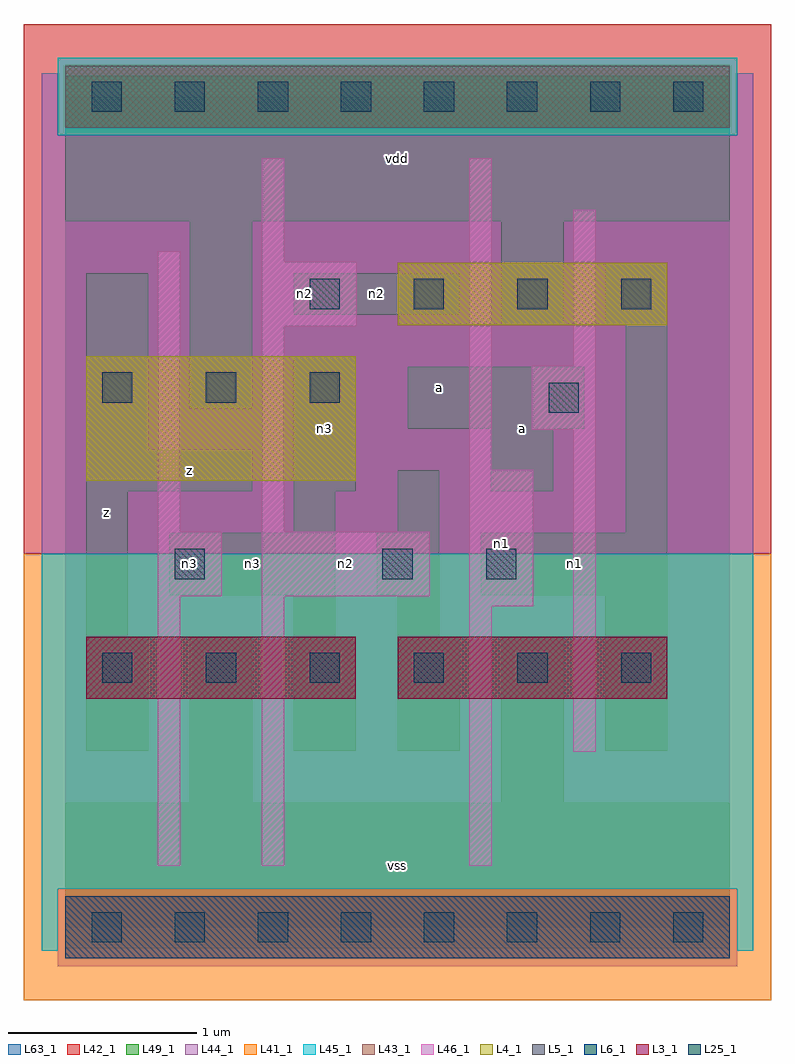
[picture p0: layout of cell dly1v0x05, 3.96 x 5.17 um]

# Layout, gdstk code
import gdstk
lib = gdstk.Library(unit=1e-6, precision=1e-09)
def R(c, l, rs):  # rectangles x0, y0, x1, y1
    for r in rs: c.add(gdstk.rectangle(r[:2], r[2:], *l))
def A(c, l, x, y, w, h, nx, ny, dx, dy):  # array of equal rectangles
    R(c, l, [(x+i*dx, y+j*dy, x+i*dx+w, y+j*dy+h) for i in range(nx) for j in range(ny)])
L3_1 = (3, 1)
L4_1 = (4, 1)
L5_1 = (5, 1)
L6_1 = (6, 1)
L25_1 = (25, 1)
L41_1 = (41, 1)
L42_1 = (42, 1)
L43_1 = (43, 1)
L44_1 = (44, 1)
L45_1 = (45, 1)
L46_1 = (46, 1)
L49_1 = (49, 1)
L63_1 = (63, 1)

dly1v0x05 = lib.new_cell('dly1v0x05')
R(dly1v0x05, L3_1, [(0.11,1.21,1.54,1.54), (1.76,1.21,3.19,1.54)])
R(dly1v0x05, L4_1, [(0.11,2.365,1.54,3.025), (1.76,3.19,3.19,3.52)])
R(dly1v0x05, L5_1, [(0,4.235,3.52,4.565)])
R(dly1v0x05, L6_1, [(0,-0.165,3.52,0.165)])
A(dly1v0x05, L25_1, 0.14, -0.08, 0.16, 0.16, 8, 2, 0.44, 4.4)
A(dly1v0x05, L25_1, 0.195, 1.295, 0.16, 0.16, 6, 1, 0.55, 0)
A(dly1v0x05, L25_1, 0.195, 2.78, 0.16, 0.16, 3, 1, 0.55, 0)
A(dly1v0x05, L25_1, 1.295, 3.275, 0.16, 0.16, 4, 1, 0.55, 0)
R(dly1v0x05, L25_1, [(0.58,1.845,0.74,2.005), (1.68,1.845,1.84,2.005), (2.23,1.845,2.39,2.005), (2.56,2.725,2.72,2.885)])
R(dly1v0x05, L41_1, [(-0.22,-0.385,3.74,1.98)])
R(dly1v0x05, L42_1, [(-0.22,1.98,3.74,4.785)])
R(dly1v0x05, L43_1, [(0,-0.165,3.52,0.165), (0.11,1.21,1.54,1.54), (1.76,1.21,3.19,1.54), (0.11,2.365,1.54,3.025), (1.76,3.19,3.19,3.52), (0,4.235,3.52,4.565)])
R(dly1v0x05, L44_1, [(-0.04,-0.205,3.56,0.205), (-0.125,1.98,3.645,4.195), (-0.125,4.195,-0.04,4.525), (3.56,4.195,3.645,4.525)])
R(dly1v0x05, L45_1, [(-0.125,-0.125,-0.04,0.205), (3.56,-0.125,3.645,0.205), (-0.125,0.205,3.645,1.98), (-0.04,4.195,3.56,4.605)])
R(dly1v0x05, L46_1, [(0.49,0.325,0.61,1.755), (1.04,0.325,1.16,1.755), (2.14,0.325,2.26,1.7), (2.69,0.93,2.81,2.635), (2.14,1.7,2.48,2.425), (0.49,1.755,0.83,2.095), (1.04,1.755,1.93,2.095), (0.49,2.095,0.61,3.58), (1.04,2.095,1.16,3.185), (2.14,2.425,2.26,4.075), (2.47,2.635,2.81,2.975), (2.69,2.975,2.81,3.8), (1.04,3.185,1.545,3.525), (1.04,3.525,1.16,4.075)])
R(dly1v0x05, L49_1, [(0,-0.11,3.52,0.66), (0.66,0.66,0.99,1.54), (2.31,0.66,2.64,1.54), (0.11,0.935,0.44,1.54), (1.21,0.935,1.54,1.54), (1.76,0.935,2.09,1.54), (2.86,0.935,3.19,1.76), (0.11,1.54,0.33,2.31), (1.21,1.54,1.43,1.76), (1.76,1.54,1.98,1.76), (0.55,1.76,1.43,2.09), (1.65,1.76,1.98,2.09), (2.2,1.76,3.19,2.09), (1.21,2.09,1.43,2.31), (1.76,2.09,1.98,2.42), (2.97,2.09,3.19,3.19), (0.11,2.31,0.99,2.53), (1.21,2.31,1.54,3.025), (2.255,2.31,2.585,2.64), (0.11,2.53,0.44,3.465), (1.815,2.64,2.75,2.97), (0.66,2.75,0.99,3.74), (2.31,3.19,2.64,3.74), (2.86,3.19,3.19,3.52), (1.21,3.245,2.09,3.465), (0,3.74,3.52,4.51)])
R(dly1v0x05, L63_1, [(0,0,3.52,4.4)])
dly1v0x05.add(gdstk.Label('n3', (0.66,1.925), layer=49, texttype=1))
dly1v0x05.add(gdstk.Label('n2', (1.485,1.925), layer=46, texttype=1))
dly1v0x05.add(gdstk.Label('n2', (1.265,3.355), layer=46, texttype=1))
dly1v0x05.add(gdstk.Label('n1', (2.31,2.035), layer=46, texttype=1))
dly1v0x05.add(gdstk.Label('z', (0.22,2.2), layer=49, texttype=1))
dly1v0x05.add(gdstk.Label('z', (0.66,2.42), layer=49, texttype=1))
dly1v0x05.add(gdstk.Label('vss', (1.76,0.33), layer=49, texttype=1))
dly1v0x05.add(gdstk.Label('n3', (0.99,1.925), layer=49, texttype=1))
dly1v0x05.add(gdstk.Label('a', (1.98,2.86), layer=49, texttype=1))
dly1v0x05.add(gdstk.Label('n3', (1.375,2.64), layer=49, texttype=1))
dly1v0x05.add(gdstk.Label('n2', (1.65,3.355), layer=49, texttype=1))
dly1v0x05.add(gdstk.Label('vdd', (1.76,4.07), layer=49, texttype=1))
dly1v0x05.add(gdstk.Label('a', (2.42,2.64), layer=49, texttype=1))
dly1v0x05.add(gdstk.Label('n1', (2.695,1.925), layer=49, texttype=1))

lib.write_gds('dly1v0x05.gds')
